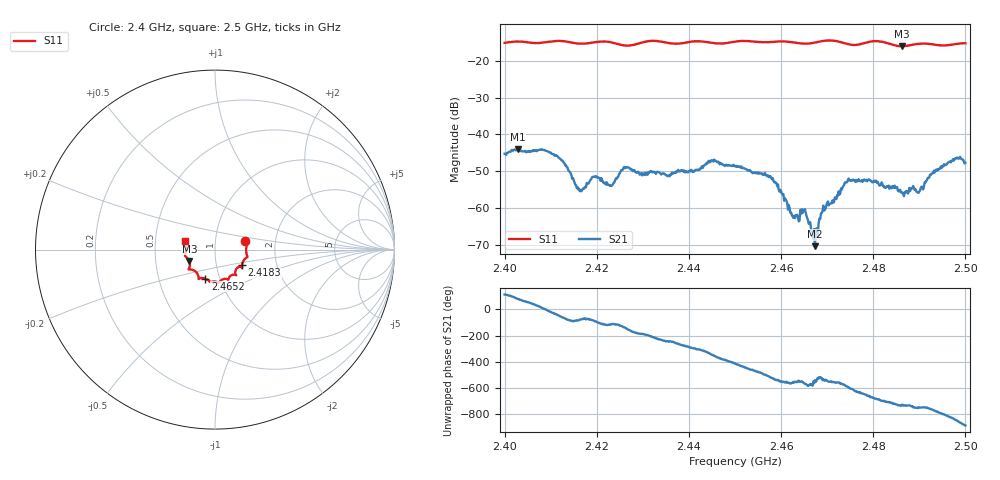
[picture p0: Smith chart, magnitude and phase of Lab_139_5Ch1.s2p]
# Hz S RI R
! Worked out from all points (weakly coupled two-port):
!   601 points, 2.4 GHz to 2.5 GHz, reference 50 ohm
!   highest |S21| = -43.93 dB at 2.4028 GHz (marker M1); lowest = -70.3 dB at 2.4673 GHz (marker M2)
!   lowest |S11| = -16.1 dB at 2.4862 GHz (marker M3), VSWR 1.37, Z = 37.2 - j4.88 ohm
!   |S11| at or under -10 dB: start of sweep to end of sweep
!   S12 and S22 are empty: the file has one direction only
!   S11 on the Smith chart (normalised r, x): 2.4 GHz: 1.40, +0.14; 2.4183 GHz: 1.33, -0.24; 2.4652 GHz: 0.85, -0.28; 2.5 GHz: 0.71, +0.07
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2.4e9  0.168 0.0474  -0.00215 0.00503  0 0  0 0
2.402833e9  0.1792 0.0331  0.00115 0.00626  0 0  0 0
2.411667e9  0.1814 -0.0403  0.00341 -0.0035  0 0  0 0
2.416667e9  0.1555 -0.068  0.000406 -0.00166  0 0  0 0
2.418333e9  0.1501 -0.0864  0.000466 -0.00218  0 0  0 0
2.423e9  0.1489 -0.0976  -0.000859 -0.00181  0 0  0 0
2.426333e9  0.1233 -0.1022  -0.00287 -0.00211  0 0  0 0
2.433333e9  0.1171 -0.1414  -0.00207 0.00232  0 0  0 0
2.445333e9  0.0596 -0.1627  0.00424 0.000681  0 0  0 0
2.45e9  0.0258 -0.1794  0.00233 -0.00293  0 0  0 0
2.457667e9  -0.0139 -0.1782  -0.00254 -0.00103  0 0  0 0
2.4625e9  -0.0339 -0.1743  -0.000748 0.000281  0 0  0 0
2.465167e9  -0.0545 -0.1612  -0.000858 0.000455  0 0  0 0
2.466667e9  -0.0707 -0.1578  -0.000413 0.00027  0 0  0 0
2.467333e9  -0.0775 -0.1582  -0.000307 3.7e-06  0 0  0 0
2.469667e9  -0.0904 -0.1636  -0.000992 -6.56e-05  0 0  0 0
2.474333e9  -0.0966 -0.1382  -0.00153 0.00167  0 0  0 0
2.483333e9  -0.1416 -0.0965  0.00198 0.000478  0 0  0 0
2.486167e9  -0.1431 -0.064  0.00164 -0.000286  0 0  0 0
2.489833e9  -0.1651 -0.0373  0.00145 -0.000704  0 0  0 0
2.497667e9  -0.164 0.0327  -0.00229 -0.00403  0 0  0 0
2.5e9  -0.1657 0.0474  -0.00398 -0.00107  0 0  0 0
